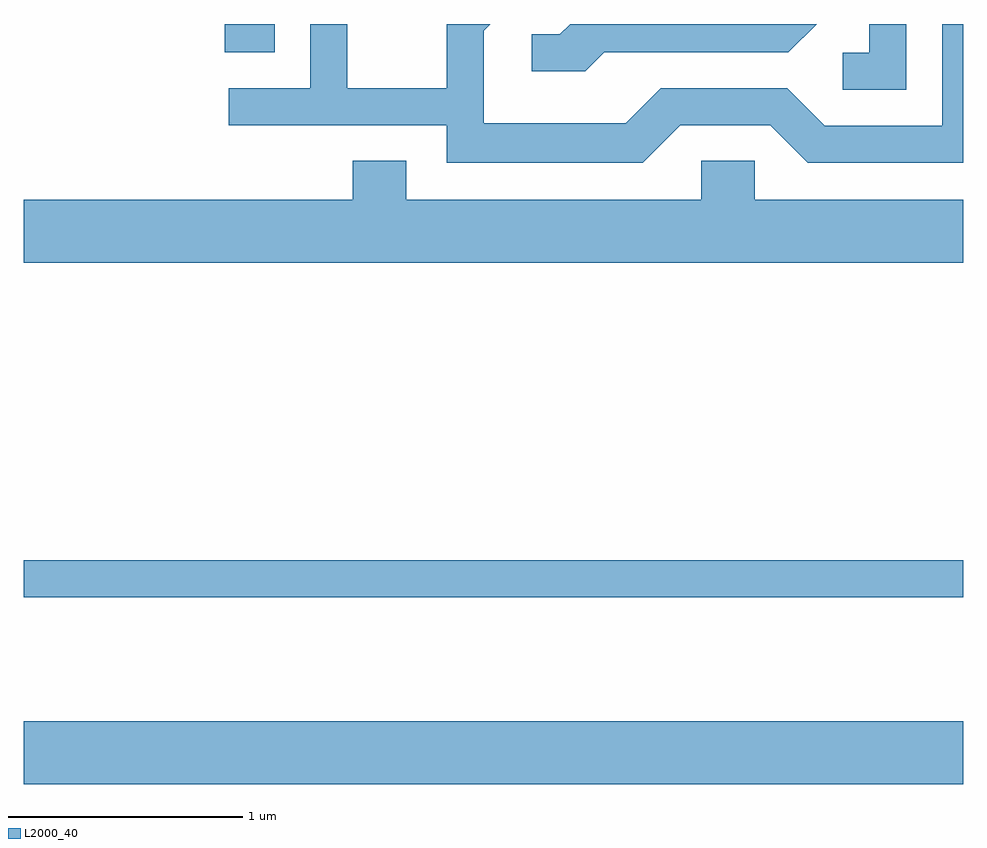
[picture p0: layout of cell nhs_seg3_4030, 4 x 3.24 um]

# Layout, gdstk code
import gdstk
lib = gdstk.Library(unit=1e-6, precision=1e-09)
def R(c, l, rs):  # rectangles x0, y0, x1, y1
    for r in rs: c.add(gdstk.rectangle(r[:2], r[2:], *l))
def P(c, l, *ps):  # polygons
    for p in ps: c.add(gdstk.Polygon(p, *l))
L2000_40 = (2000, 40)

nhs_seg3_4030 = lib.new_cell('nhs_seg3_4030')
R(nhs_seg3_4030, L2000_40, [(303.611,1152.656,307.611,1152.924), (303.611,1153.451,307.611,1153.609), (304.466,1155.771,304.679,1155.892)])
P(nhs_seg3_4030, L2000_40, [(307.369,1155.892),(307.211,1155.892),(307.211,1155.769),(307.098,1155.769),(307.098,1155.611),(307.369,1155.611)],
  [(306.082,1155.771),(306.867,1155.771),(306.987,1155.892),(305.937,1155.892),(305.894,1155.849),(305.773,1155.849),(305.773,1155.691),(306.002,1155.691)],
  [(306.407,1155.461),(306.789,1155.461),(306.949,1155.301),(307.611,1155.301),(307.611,1155.892),(307.521,1155.892),(307.521,1155.459),(307.022,1155.459),(306.862,1155.619),(306.324,1155.619),(306.174,1155.469),(305.569,1155.469),(305.569,1155.864),(305.597,1155.892),(305.411,1155.892),(305.411,1155.619),(304.989,1155.619),(304.989,1155.892),(304.831,1155.892),(304.831,1155.619),(304.483,1155.619),(304.483,1155.461),(305.411,1155.461),(305.411,1155.301),(306.247,1155.301)],
  [(307.611,1155.144),(306.724,1155.144),(306.724,1155.309),(306.496,1155.309),(306.496,1155.144),(305.239,1155.144),(305.239,1155.309),(305.011,1155.309),(305.011,1155.144),(303.611,1155.144),(303.611,1154.876),(307.611,1154.876)])

lib.write_gds('nhs_seg3_4030.gds')
